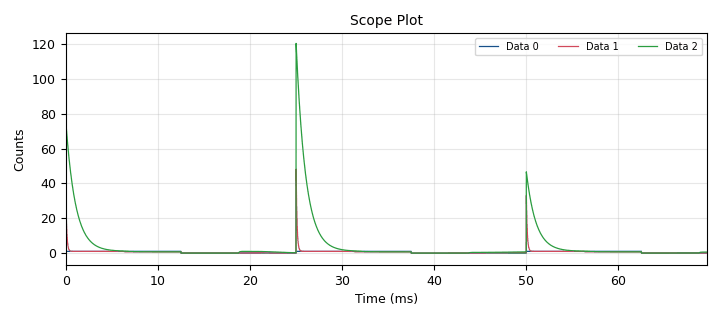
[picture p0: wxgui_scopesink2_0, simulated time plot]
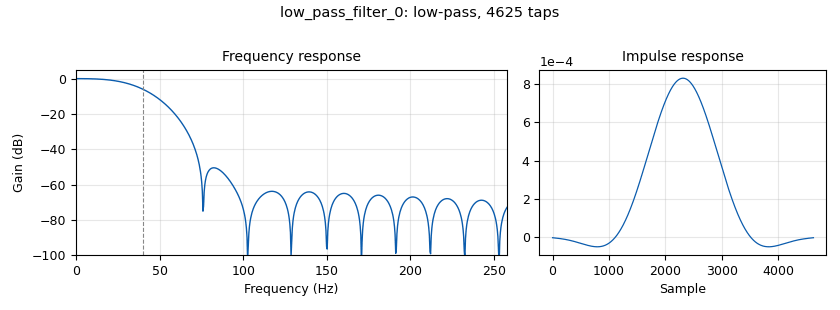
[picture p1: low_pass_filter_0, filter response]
<?xml version='1.0' encoding='utf-8'?>
<flow_graph>
<block>
<key>notebook</key>
<param><key>id</key><value>nb</value></param>
<param><key>style</key><value>wx.NB_TOP</value></param>
<param><key>labels</key><value>['Signal', 'AGC']</value></param>
<param><key>grid_pos</key><value>[1,0,1,1]</value></param>
</block>
<block>
<key>variable</key>
<param><key>id</key><value>moving_avg_len_float</value></param>
<param><key>value</key><value>float(moving_avg_len)</value></param>
</block>
<block>
<key>variable</key>
<param><key>id</key><value>samp_rate</value></param>
<param><key>value</key><value>96000</value></param>
</block>
<block>
<key>variable_text_box</key>
<param><key>id</key><value>agc2_decay</value></param>
<param><key>label</key><value></value></param>
<param><key>value</key><value>1e-1</value></param>
<param><key>converver</key><value>float_converter</value></param>
<param><key>formatter</key><value>None</value></param>
<param><key>grid_pos</key><value>[2,0,1,1]</value></param>
<param><key>notebook</key><value>nb,1</value></param>
</block>
<block>
<key>variable_text_box</key>
<param><key>id</key><value>agc2_attack</value></param>
<param><key>label</key><value></value></param>
<param><key>value</key><value>10e-3</value></param>
<param><key>converver</key><value>float_converter</value></param>
<param><key>formatter</key><value>None</value></param>
<param><key>grid_pos</key><value>[1,0,1,1]</value></param>
<param><key>notebook</key><value>nb,1</value></param>
</block>
<block>
<key>variable_text_box</key>
<param><key>id</key><value>agc2_reference</value></param>
<param><key>label</key><value></value></param>
<param><key>value</key><value>1</value></param>
<param><key>converver</key><value>float_converter</value></param>
<param><key>formatter</key><value>None</value></param>
<param><key>grid_pos</key><value>[0,0,1,1]</value></param>
<param><key>notebook</key><value>nb,1</value></param>
</block>
<block>
<key>variable_text_box</key>
<param><key>id</key><value>agc3_decay</value></param>
<param><key>label</key><value></value></param>
<param><key>value</key><value>1e-1</value></param>
<param><key>converver</key><value>float_converter</value></param>
<param><key>formatter</key><value>None</value></param>
<param><key>grid_pos</key><value>[2,1,1,1]</value></param>
<param><key>notebook</key><value>nb,1</value></param>
</block>
<block>
<key>variable_text_box</key>
<param><key>id</key><value>agc3_attack</value></param>
<param><key>label</key><value></value></param>
<param><key>value</key><value>10e-3</value></param>
<param><key>converver</key><value>float_converter</value></param>
<param><key>formatter</key><value>None</value></param>
<param><key>grid_pos</key><value>[1,1,1,1]</value></param>
<param><key>notebook</key><value>nb,1</value></param>
</block>
<block>
<key>variable_text_box</key>
<param><key>id</key><value>agc3_reference</value></param>
<param><key>label</key><value></value></param>
<param><key>value</key><value>1</value></param>
<param><key>converver</key><value>float_converter</value></param>
<param><key>formatter</key><value>None</value></param>
<param><key>grid_pos</key><value>[0,1,1,1]</value></param>
<param><key>notebook</key><value>nb,1</value></param>
</block>
<block>
<key>options</key>
<param><key>id</key><value>agc_test</value></param>
<param><key>generate_options</key><value>wx_gui</value></param>
<param><key>category</key><value>Custom</value></param>
</block>
<block>
<key>variable_text_box</key>
<param><key>id</key><value>moving_avg_len</value></param>
<param><key>label</key><value></value></param>
<param><key>value</key><value>1</value></param>
<param><key>converver</key><value>int_converter</value></param>
<param><key>formatter</key><value>None</value></param>
<param><key>grid_pos</key><value>[0,0,1,1]</value></param>
<param><key>notebook</key><value>nb,0</value></param>
</block>
<block>
<key>analog_agc2_xx</key>
<param><key>id</key><value>analog_agc2_xx_0</value></param>
<param><key>type</key><value>complex</value></param>
<param><key>attack_rate</key><value>agc2_attack</value></param>
<param><key>decay_rate</key><value>agc2_decay</value></param>
<param><key>reference</key><value>agc2_reference</value></param>
<param><key>gain</key><value>1.0</value></param>
<param><key>max_gain</key><value>65536</value></param>
</block>
<block>
<key>blocks_complex_to_float</key>
<param><key>id</key><value>blocks_complex_to_float_0_1</value></param>
</block>
<block>
<key>blocks_complex_to_float</key>
<param><key>id</key><value>blocks_complex_to_float_0</value></param>
</block>
<block>
<key>blocks_complex_to_float</key>
<param><key>id</key><value>blocks_complex_to_float_0_0</value></param>
</block>
<block>
<key>wxgui_scopesink2</key>
<param><key>id</key><value>wxgui_scopesink2_0</value></param>
<param><key>type</key><value>float</value></param>
<param><key>title</key><value>Scope Plot</value></param>
<param><key>samp_rate</key><value>samp_rate</value></param>
<param><key>v_scale</key><value>0.4</value></param>
<param><key>v_offset</key><value>0.8</value></param>
<param><key>t_scale</key><value>0</value></param>
<param><key>ac_couple</key><value>False</value></param>
<param><key>xy_mode</key><value>False</value></param>
<param><key>num_inputs</key><value>3</value></param>
<param><key>trig_mode</key><value>wxgui.TRIG_MODE_AUTO</value></param>
<param><key>y_axis_label</key><value>Counts</value></param>
</block>
<block>
<key>analog_agc3_xx</key>
<param><key>id</key><value>analog_agc3_xx_0</value></param>
<param><key>type</key><value>complex</value></param>
<param><key>attack_rate</key><value>agc3_attack</value></param>
<param><key>decay_rate</key><value>agc3_decay</value></param>
<param><key>reference</key><value>agc3_reference</value></param>
<param><key>gain</key><value>1.0</value></param>
<param><key>max_gain</key><value>65536</value></param>
</block>
<block>
<key>analog_sig_source_x</key>
<param><key>id</key><value>analog_sig_source_x_0</value></param>
<param><key>type</key><value>complex</value></param>
<param><key>samp_rate</key><value>samp_rate</value></param>
<param><key>waveform</key><value>analog.GR_SQR_WAVE</value></param>
<param><key>freq</key><value>signal_freq</value></param>
<param><key>amp</key><value>signal_mag</value></param>
<param><key>offset</key><value>0</value></param>
</block>
<block>
<key>blocks_throttle</key>
<param><key>id</key><value>blocks_throttle_0</value></param>
<param><key>type</key><value>complex</value></param>
<param><key>samples_per_second</key><value>samp_rate</value></param>
</block>
<block>
<key>blocks_moving_average_xx</key>
<param><key>id</key><value>blocks_moving_average_xx_0</value></param>
<param><key>type</key><value>complex</value></param>
<param><key>length</key><value>moving_avg_len</value></param>
<param><key>scale</key><value>1/moving_avg_len_float</value></param>
<param><key>max_iter</key><value>4000</value></param>
</block>
<block>
<key>variable_text_box</key>
<param><key>id</key><value>signal_freq</value></param>
<param><key>label</key><value></value></param>
<param><key>value</key><value>40</value></param>
<param><key>converver</key><value>float_converter</value></param>
<param><key>formatter</key><value>None</value></param>
<param><key>grid_pos</key><value>[1,0,1,1]</value></param>
<param><key>notebook</key><value>nb,0</value></param>
</block>
<block>
<key>variable_text_box</key>
<param><key>id</key><value>signal_mag</value></param>
<param><key>label</key><value></value></param>
<param><key>value</key><value>1</value></param>
<param><key>converver</key><value>float_converter</value></param>
<param><key>formatter</key><value>None</value></param>
<param><key>grid_pos</key><value>[2,0,1,1]</value></param>
<param><key>notebook</key><value>nb,0</value></param>
</block>
<block>
<key>variable_text_box</key>
<param><key>id</key><value>noise_freq</value></param>
<param><key>label</key><value></value></param>
<param><key>value</key><value>40</value></param>
<param><key>converver</key><value>float_converter</value></param>
<param><key>formatter</key><value>None</value></param>
<param><key>grid_pos</key><value>[1,1,1,1]</value></param>
<param><key>notebook</key><value>nb,0</value></param>
</block>
<block>
<key>variable_text_box</key>
<param><key>id</key><value>noise_mag</value></param>
<param><key>label</key><value></value></param>
<param><key>value</key><value>1</value></param>
<param><key>converver</key><value>float_converter</value></param>
<param><key>formatter</key><value>None</value></param>
<param><key>grid_pos</key><value>[2,1,1,1]</value></param>
<param><key>notebook</key><value>nb,0</value></param>
</block>
<block>
<key>analog_noise_source_x</key>
<param><key>id</key><value>analog_noise_source_x_0</value></param>
<param><key>type</key><value>complex</value></param>
<param><key>noise_type</key><value>analog.GR_GAUSSIAN</value></param>
<param><key>amp</key><value>noise_mag</value></param>
<param><key>seed</key><value>0</value></param>
</block>
<block>
<key>low_pass_filter</key>
<param><key>id</key><value>low_pass_filter_0</value></param>
<param><key>type</key><value>fir_filter_ccf</value></param>
<param><key>decim</key><value>1</value></param>
<param><key>gain</key><value>1</value></param>
<param><key>samp_rate</key><value>samp_rate</value></param>
<param><key>cutoff_freq</key><value>noise_freq</value></param>
<param><key>width</key><value>50</value></param>
<param><key>win</key><value>firdes.WIN_HAMMING</value></param>
</block>
<block>
<key>blocks_add_xx</key>
<param><key>id</key><value>blocks_add_xx_0</value></param>
<param><key>type</key><value>complex</value></param>
</block>
<connection><source_block_id>analog_agc2_xx_0</source_block_id><sink_block_id>blocks_complex_to_float_0</sink_block_id><source_key>0</source_key><sink_key>0</sink_key></connection>
<connection><source_block_id>analog_agc3_xx_0</source_block_id><sink_block_id>blocks_complex_to_float_0_0</sink_block_id><source_key>0</source_key><sink_key>0</sink_key></connection>
<connection><source_block_id>blocks_complex_to_float_0_1</source_block_id><sink_block_id>wxgui_scopesink2_0</sink_block_id><source_key>0</source_key><sink_key>0</sink_key></connection>
<connection><source_block_id>blocks_complex_to_float_0</source_block_id><sink_block_id>wxgui_scopesink2_0</sink_block_id><source_key>0</source_key><sink_key>1</sink_key></connection>
<connection><source_block_id>blocks_complex_to_float_0_0</source_block_id><sink_block_id>wxgui_scopesink2_0</sink_block_id><source_key>0</source_key><sink_key>2</sink_key></connection>
<connection><source_block_id>blocks_throttle_0</source_block_id><sink_block_id>blocks_complex_to_float_0_1</sink_block_id><source_key>0</source_key><sink_key>0</sink_key></connection>
<connection><source_block_id>analog_sig_source_x_0</source_block_id><sink_block_id>blocks_moving_average_xx_0</sink_block_id><source_key>0</source_key><sink_key>0</sink_key></connection>
<connection><source_block_id>blocks_throttle_0</source_block_id><sink_block_id>analog_agc2_xx_0</sink_block_id><source_key>0</source_key><sink_key>0</sink_key></connection>
<connection><source_block_id>blocks_throttle_0</source_block_id><sink_block_id>analog_agc3_xx_0</sink_block_id><source_key>0</source_key><sink_key>0</sink_key></connection>
<connection><source_block_id>blocks_add_xx_0</source_block_id><sink_block_id>blocks_throttle_0</sink_block_id><source_key>0</source_key><sink_key>0</sink_key></connection>
<connection><source_block_id>blocks_moving_average_xx_0</source_block_id><sink_block_id>blocks_add_xx_0</sink_block_id><source_key>0</source_key><sink_key>0</sink_key></connection>
<connection><source_block_id>analog_noise_source_x_0</source_block_id><sink_block_id>low_pass_filter_0</sink_block_id><source_key>0</source_key><sink_key>0</sink_key></connection>
<connection><source_block_id>low_pass_filter_0</source_block_id><sink_block_id>blocks_add_xx_0</sink_block_id><source_key>0</source_key><sink_key>1</sink_key></connection>
</flow_graph>
